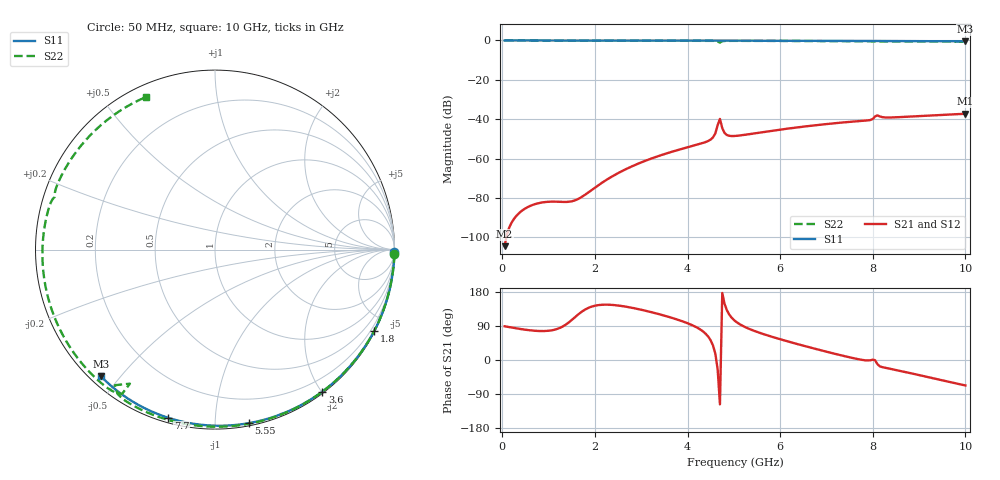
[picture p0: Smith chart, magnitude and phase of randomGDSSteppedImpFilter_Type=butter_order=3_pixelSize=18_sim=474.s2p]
! freq	dB(S11)	phase(S11)	dB(S12)	phase(S12)
!  dB(S21)	phase(S21)	dB(S22)	phase(S22)
!S-par simulation data
#  GHz  S  DB  R 50
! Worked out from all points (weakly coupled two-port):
!   200 points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, 50 MHz to 10 GHz, reference 50 ohm
!   highest |S21| = -37.27 dB at 10 GHz (marker M1); lowest = -104.5 dB at 50 MHz (marker M2)
!   lowest |S11| = -0.4 dB at 10 GHz (marker M3), VSWR 38.96, Z = 1.54 - j22.3 ohm
!   |S11| at or under -10 dB: nowhere
!   |S22| runs from -1.1 to 0.0 dB; largest |S21 - S12| = 0
!   S11 on the Smith chart (normalised r, x): 50 MHz: open; 1.8 GHz: 0.04, -4.15; 3.6 GHz: 0.02, -2.01; 5.55 GHz: 0.02, -1.21; 7.7 GHz: 0.02, -0.76; 10 GHz: 0.03, -0.45
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0.05  -0.00 -0.8  -104.51 88.9  -104.51 88.9  -0.00 -1.5
0.85  -0.02 -12.9  -82.34 76.4  -82.34 76.4  -0.03 -25.1
1.75  -0.03 -26.4  -78.98 130.3  -78.98 130.3  -0.06 -50.7
1.8  -0.03 -27.1  -78.18 133.9  -78.18 133.9  -0.07 -52.1
2.55  -0.05 -38.0  -66.79 143.0  -66.79 143.0  -0.09 -72.3
3.4  -0.07 -50.2  -58.51 120.5  -58.51 120.5  -0.12 -93.9
3.6  -0.07 -53.0  -57.00 113.5  -57.00 113.5  -0.13 -98.8
4.5  -0.09 -65.3  -50.32 51.8  -50.32 51.8  -0.19 -120.8
4.6  -0.10 -66.6  -47.25 16.7  -47.25 16.7  -0.27 -124.1
4.65  -0.10 -67.3  -43.07 -23.9  -43.07 -23.9  -0.55 -126.4
4.7  -0.11 -67.9  -39.86 -117.1  -39.86 -117.1  -1.06 -122.4
4.75  -0.11 -68.6  -44.54 176.9  -44.54 176.9  -0.40 -122.8
4.8  -0.11 -69.2  -47.00 148.1  -47.00 148.1  -0.26 -124.8
5.05  -0.11 -72.5  -48.47 100.8  -48.47 100.8  -0.20 -131.6
5.55  -0.13 -79.0  -46.83 72.0  -46.83 72.0  -0.22 -142.9
6.7  -0.18 -93.5  -43.25 31.4  -43.25 31.4  -0.30 -168.0
7.7  -0.24 -105.5  -40.97 1.8  -40.97 1.8  -0.38 169.8
7.95  -0.26 -108.4  -40.40 -0.6  -40.40 -0.6  -0.43 164.0
8.1  -0.27 -110.2  -38.05 -10.9  -38.05 -10.9  -0.52 161.3
8.35  -0.29 -113.1  -39.14 -22.3  -39.14 -22.3  -0.45 155.3
9.15  -0.36 -122.3  -38.21 -44.0  -38.21 -44.0  -0.52 136.1
10  -0.45 -131.9  -37.27 -67.2  -37.27 -67.2  -0.60 114.4
